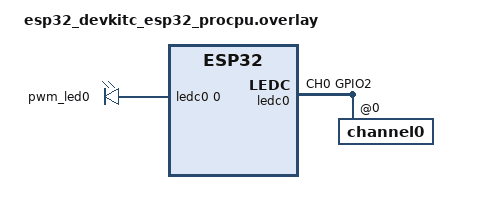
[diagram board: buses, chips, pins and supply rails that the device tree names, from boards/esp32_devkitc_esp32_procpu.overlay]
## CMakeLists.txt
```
cmake_minimum_required(VERSION 3.20.0)

list(APPEND BOARD_ROOT ${CMAKE_CURRENT_SOURCE_DIR})

find_package(Zephyr REQUIRED)
project(my_zephyr_app)

target_sources(app PRIVATE src/main.cpp)

add_subdirectory(drivers/my_driver)
```

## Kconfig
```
mainmenu "My Zephyr App"

menu "Zephyr config"
    source "Kconfig.zephyr"
endmenu

menu "App configuration"
    rsource "drivers/my_driver/Kconfig"
    config LED_BLINK_INTERVAL
        int "LED Blink Interval"
        default 3000
        help
            Time in milliseconds to blink the LED
endmenu
```

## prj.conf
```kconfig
CONFIG_LOG=y
CONFIG_MY_DRIVER=y

CONFIG_SHELL=y
```

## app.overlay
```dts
/ {
	aliases {
		app-led = &led0;
	};

	leds {
		compatible = "gpio-leds";
		led0: led_0 {
			gpios = <&gpio0 2 GPIO_ACTIVE_HIGH>;
			label = "LED 0";
		};
	};
};
```

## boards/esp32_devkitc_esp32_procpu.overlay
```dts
/ {
    aliases {
        pwm-led0 = &pwm_led0;
    };

    pwmleds {
        compatible = "pwm-leds";
        pwm_led0: pwm_led_0 {
            /* Usar el canal 0 del controlador ledc0 */
            pwms = <&ledc0 0 PWM_MSEC(10) PWM_POLARITY_NORMAL>;
        };
    };
};

&pinctrl {
    ledc0_default: ledc0_default {
        group1 {
            /* Asignar el canal 0 del controlador LEDC al GPIO 2 */
            pinmux = <LEDC_CH0_GPIO2>;
            output-enable;
        };
    };
};

&ledc0 {
    pinctrl-0 = <&ledc0_default>;
    pinctrl-names = "default";
    status = "okay";
    
    /* Indicar a Zephyr que este nodo contiene subnodos indexados */
    #address-cells = <1>;
    #size-cells = <0>;

    /* Declaración del canal 0 */
    channel0@0 {
        reg = <0>;
        timer = <0>;
    };
};
```

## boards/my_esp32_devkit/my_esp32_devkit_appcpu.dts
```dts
/*
 * Copyright (c) 2023-2025 Espressif Systems (Shanghai) Co., Ltd.
 *
 * SPDX-License-Identifier: Apache-2.0
 */
/dts-v1/;

#include <espressif/esp32/esp32_appcpu.dtsi>
#include <espressif/partitions_0x1000_amp.dtsi>

/ {
	model = "Espressif My ESP32 DevKit APPCPU";
	compatible = "espressif,esp32";

	chosen {
		zephyr,sram = &sram1;
		zephyr,ipc_shm = &shm0;
		zephyr,ipc = &ipm0;
		zephyr,flash = &flash0;
		zephyr,code-partition = &slot0_appcpu_partition;
	};
};

&ipm0 {
	status = "okay";
};

&trng0 {
	status = "okay";
};
```

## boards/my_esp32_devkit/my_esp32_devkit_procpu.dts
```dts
/*
 * Copyright (c) 2023-2025 Espressif Systems (Shanghai) Co., Ltd.
 *
 * SPDX-License-Identifier: Apache-2.0
 */
/dts-v1/;

#include <espressif/esp32/esp32_wrover_e_n4r8.dtsi>
#include "my_esp32_devkit-pinctrl.dtsi"
#include <zephyr/dt-bindings/input/input-event-codes.h>
#include <zephyr/dt-bindings/input/esp32-touch-sensor-input.h>
#include <espressif/partitions_0x1000_amp.dtsi>

/ {
	model = "Espressif My ESP32 DevKit PROCPU";
	compatible = "espressif,esp32";

	aliases {
		uart-0 = &uart0;
		i2c-0 = &i2c0;
		sw0 = &button0;
		watchdog0 = &wdt0;
		led = &my_led;
	};

	buttons {
		compatible = "gpio-keys";
		button0: button_0 {
			gpios = <&gpio0 0 (GPIO_PULL_UP | GPIO_ACTIVE_LOW)>;
			label = "BOOT Button";
			zephyr,code = <INPUT_KEY_0>;
		};
	};

    my_led: led {
		compatible = "my,driver";
		gpios = <&gpio0 2 GPIO_ACTIVE_HIGH>;
	};

	chosen {
		zephyr,sram = &sram1;
		zephyr,console = &uart0;
		zephyr,shell-uart = &uart0;
		zephyr,flash = &flash0;
		zephyr,code-partition = &slot0_partition;
		zephyr,bt-hci = &esp32_bt_hci;
	};
};

&uart0 {
	status = "okay";
	current-speed = <115200>;
	pinctrl-0 = <&uart0_default>;
	pinctrl-names = "default";
};

&uart1 {
	current-speed = <115200>;
	pinctrl-0 = <&uart1_default>;
	pinctrl-names = "default";
};

&uart2 {
	current-speed = <115200>;
	pinctrl-0 = <&uart2_default>;
	pinctrl-names = "default";
};

&gpio0 {
	status = "okay";
};

&gpio1 {
	status = "okay";
};

&touch {
	debounce-interval-ms = <30>;
	href-microvolt = <2700000>;
	lref-microvolt = <500000>;
	href-atten-microvolt = <1000000>;
	filter-mode = <ESP32_TOUCH_FILTER_MODE_IIR_16>;
	filter-debounce-cnt = <1>;
	filter-noise-thr = <ESP32_TOUCH_FILTER_NOISE_THR_4_8TH>;
	filter-jitter-step = <4>;
	filter-smooth-level = <ESP32_TOUCH_FILTER_SMOOTH_MODE_IIR_2>;
};

&i2c0 {
	status = "okay";
	clock-frequency = <I2C_BITRATE_STANDARD>;
	sda-gpios = <&gpio0 21 GPIO_OPEN_DRAIN>;
	scl-gpios = <&gpio0 22 GPIO_OPEN_DRAIN>;
	pinctrl-0 = <&i2c0_default>;
	pinctrl-names = "default";
};

&i2s0 {
	pinctrl-0 = <&i2s0_default>;
	pinctrl-names = "default";
	status = "disabled";
};

&i2s1 {
	pinctrl-0 = <&i2s1_default>;
	pinctrl-names = "default";
	status = "disabled";
};

&spi2 {
	#address-cells = <1>;
	#size-cells = <0>;
	status = "okay";
	pinctrl-0 = <&spim2_default>;
	pinctrl-names = "default";
};

&spi3 {
	#address-cells = <1>;
	#size-cells = <0>;
	status = "okay";
	pinctrl-0 = <&spim3_default>;
	pinctrl-names = "default";
};

&timer0 {
	status = "disabled";
};

&timer1 {
	status = "disabled";
};

&timer2 {
	status = "disabled";
};

&timer3 {
	status = "disabled";
};

&trng0 {
	status = "okay";
};

&esp32_bt_hci {
	status = "okay";
};

&wifi {
	status = "okay";
};
```

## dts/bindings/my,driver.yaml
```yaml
include: base.yaml

description: LED driver

compatible: "my,driver"

properties:
  gpios:
    type: phandle-array
    required: true
    description: GPIO pin for the LED
```

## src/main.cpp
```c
#include <zephyr/kernel.h>
#include <zephyr/logging/log.h>
#include "my_driver.h"
#include <zephyr/shell/shell.h>

#define SLEEP_TIME_MS CONFIG_LED_BLINK_INTERVAL

#define LED_NODE DT_ALIAS(led)

static const struct device *my_led = DEVICE_DT_GET(LED_NODE);

LOG_MODULE_REGISTER(main, LOG_LEVEL_INF);

static int cmd_sensor_sample_fetch(const struct shell *sh, size_t argc, char *argv[])
{
	ARG_UNUSED(argc);
	ARG_UNUSED(argv);

	if (my_driver_sample_fetch(my_led, SENSOR_CHAN_ALL) < 0) {
		shell_error(sh, "Failed to fetch from my_led");
	}

	return 0;
}

static int cmd_sensor_info(const struct shell *sh, size_t argc, char *argv[])
{
	ARG_UNUSED(argc);
	ARG_UNUSED(argv);

	shell_fprintf(sh, SHELL_INFO, "\nSensor Device Information:\n");
	shell_fprintf(sh, SHELL_INFO, "    Name: %s\n", my_led->name);
	shell_fprintf(sh, SHELL_INFO, "    Ready: %s\n",
	              (my_led->state->initialized ? "true" : "false"));

	return 0;
}

static int cmd_sensor_set_value(const struct shell *sh, size_t argc, char *argv[])
{
	int err = 0;

	long valor = shell_strtol(argv[1], 10, &err);

	if (err != 0) {
		shell_error(sh, "Error: El argumento debe ser un número válido.");
		return -EINVAL;
	}
	if (valor < 0 || valor > 5000) {
		shell_error(sh, "Error: El valor %ld está fuera de rango. Debe estar entre 0 y 5000.",
		            valor);
		return -EINVAL;
	}

	my_driver_set_value(my_led, valor);

	return 0;
}

SHELL_STATIC_SUBCMD_SET_CREATE(
    sub_sensor, SHELL_CMD_ARG(fetch, NULL, "Sensor fetch command", cmd_sensor_sample_fetch, 1, 0),
    SHELL_CMD_ARG(info, NULL, "Sensor info command", cmd_sensor_info, 1, 0),
    SHELL_CMD_ARG(set_value, NULL, "Set LED value (0-5000)", cmd_sensor_set_value, 2, 0),
    SHELL_SUBCMD_SET_END);

SHELL_CMD_REGISTER(sensor, &sub_sensor, "Sensor subcommands", NULL);

int main(void)
{
	my_driver_set_value(my_led, SLEEP_TIME_MS);

	while (1) {

		k_msleep(my_driver_get_value(my_led));

		if (my_driver_led_toggle(my_led) < 0) {
			LOG_ERR("Error");
		}

		if (my_driver_led_get_state(my_led)) {
			LOG_INF("LED state: ON");
		} else {
			LOG_INF("LED state: OFF");
		}
	}

	return 0;
}
```
